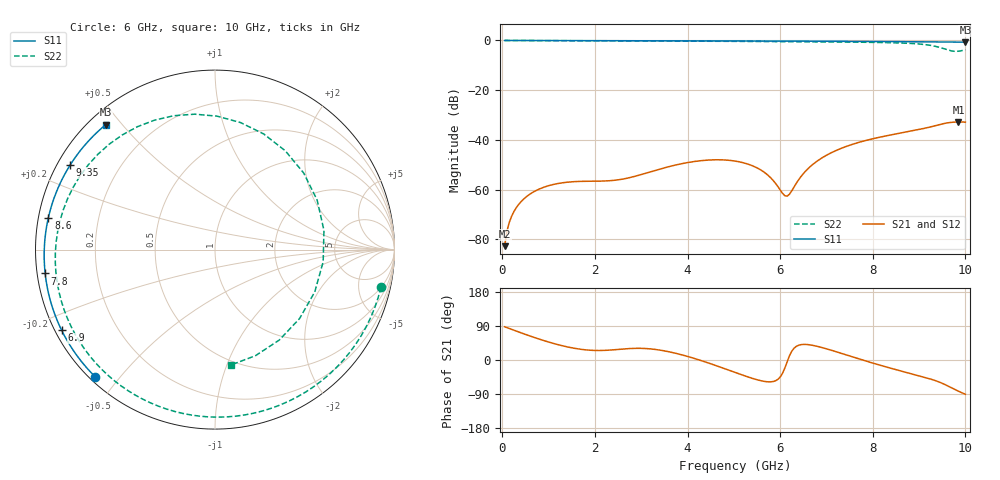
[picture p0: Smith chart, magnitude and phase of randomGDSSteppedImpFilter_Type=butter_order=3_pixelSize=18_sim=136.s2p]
! freq	dB(S11)	phase(S11)	dB(S12)	phase(S12)
!  dB(S21)	phase(S21)	dB(S22)	phase(S22)
!S-par simulation data
#  GHz  S  DB  R 50
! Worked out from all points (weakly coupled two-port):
!   200 points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, 50 MHz to 10 GHz, reference 50 ohm
!   highest |S21| = -32.78 dB at 9.85 GHz (marker M1); lowest = -82.7 dB at 50 MHz (marker M2)
!   lowest |S11| = -0.7 dB at 10 GHz (marker M3), VSWR 25.55, Z = 2.36 + j22.6 ohm
!   |S11| at or under -10 dB: nowhere
!   |S22| runs from -4.4 to 0.0 dB; largest |S21 - S12| = 0
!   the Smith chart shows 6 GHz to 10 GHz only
!   S11 on the Smith chart (normalised r, x): 6 GHz: 0.02, -0.43; 6.9 GHz: 0.02, -0.25; 7.8 GHz: 0.02, -0.07; 8.6 GHz: 0.03, +0.10; 9.35 GHz: 0.04, +0.27; 10 GHz: 0.05, +0.45
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0.05  -0.00 -1.2  -82.70 87.7  -82.70 87.7  -0.00 -3.4
0.25  -0.01 -6.1  -68.82 78.6  -68.82 78.6  -0.03 -16.9
0.55  -0.02 -13.3  -62.39 65.4  -62.39 65.4  -0.05 -36.9
1.15  -0.04 -27.6  -57.70 42.2  -57.70 42.2  -0.09 -75.0
1.75  -0.05 -41.7  -56.62 27.4  -56.62 27.4  -0.12 -110.3
2.6  -0.08 -61.1  -55.73 28.9  -55.73 28.9  -0.17 -156.6
3.4  -0.10 -78.8  -51.72 26.2  -51.72 26.2  -0.21 160.2
4.3  -0.14 -98.0  -48.31 -1.8  -48.31 -1.8  -0.29 107.0
5.05  -0.18 -113.7  -48.55 -33.8  -48.55 -33.8  -0.36 56.2
5.55  -0.20 -124.0  -51.71 -53.7  -51.71 -53.7  -0.42 20.0
6  -0.23 -133.3  -60.09 -45.1  -60.09 -45.1  -0.46 -12.7
6.15  -0.25 -136.4  -62.59 -4.9  -62.59 -4.9  -0.48 -23.4
6.7  -0.29 -148.0  -49.91 38.8  -49.91 38.8  -0.54 -60.6
6.9  -0.31 -152.2  -47.24 33.0  -47.24 33.0  -0.56 -73.5
7.8  -0.40 -172.0  -40.44 -0.7  -40.44 -0.7  -0.72 -127.7
8.35  -0.46 175.2  -38.12 -20.4  -38.12 -20.4  -0.89 -161.5
8.6  -0.49 169.1  -37.20 -28.8  -37.20 -28.8  -1.02 -178.9
9  -0.54 159.0  -35.77 -42.0  -35.77 -42.0  -1.42 146.3
9.35  -0.59 149.7  -34.27 -54.3  -34.27 -54.3  -2.35 98.5
9.65  -0.63 141.4  -33.03 -70.3  -33.03 -70.3  -3.98 25.9
9.85  -0.66 135.7  -32.78 -82.4  -32.78 -82.4  -4.32 -39.2
10  -0.68 131.2  -32.84 -90.6  -32.84 -90.6  -3.75 -82.3
